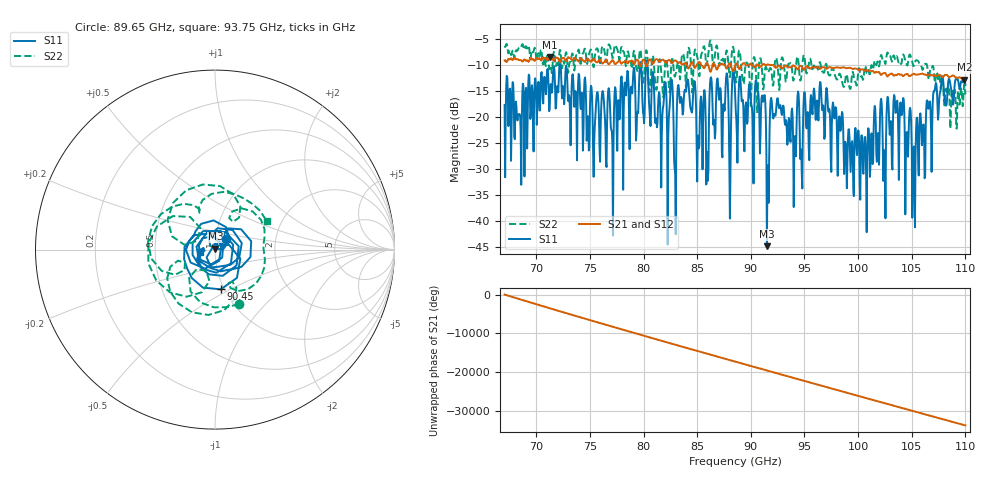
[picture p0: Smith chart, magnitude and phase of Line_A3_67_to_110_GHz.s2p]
#  HZ  S  MA  R  50.00
! Rohde & Schwarz ZVA67 4Ports - Version 4.11 - 1305.7002k04 SN: 101051
! Date: 2023-09-13 16:12:00
! Measurements: S11 S21 S12 S22
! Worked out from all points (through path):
!   860 points, 67.05 GHz to 110 GHz, reference 50 ohm
!   highest |S21| = -8.40 dB at 71.25 GHz (marker M1); lowest = -12.8 dB at 109.9 GHz (marker M2)
!   lowest |S11| = -44.8 dB at 91.5 GHz (marker M3), VSWR 1.01, Z = 50.2 + j0.537 ohm
!   |S11| at or under -10 dB: start of sweep to 72.16 GHz; 72.27 GHz to 79.67 GHz (7.395 GHz wide, 9.73 % of centre); 80.36 GHz to end of sweep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
!   |S22| runs from -22.2 to -5.2 dB; largest |S21 - S12| = 0.054
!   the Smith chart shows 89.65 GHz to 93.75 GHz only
!   S11 on the Smith chart (normalised r, x): 89.65 GHz: 1.12, +0.14; 90.45 GHz: 0.96, -0.45; 93.75 GHz: 0.84, -0.02
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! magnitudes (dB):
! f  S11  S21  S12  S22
! 67.05 GHz  -17.6  -9.1  -9.1  -6.3
! 71.25 GHz  -18.5  -8.4  -8.4  -10.8
! 74.25 GHz  -15.3  -8.9  -8.9  -8.3
! 81.4 GHz  -16.0  -9.2  -9.2  -9.8
! 82.95 GHz  -30.8  -9.1  -9.0  -12.0
! 84.05 GHz  -13.2  -10.1  -10.1  -9.9
! 85.95 GHz  -26.6  -9.7  -9.7  -9.3
! 86.3 GHz  -12.3  -11.1  -11.1  -5.7
! 88.55 GHz  -16.3  -10.0  -9.9  -11.6
! 89.65 GHz  -21.3  -10.0  -10.0  -9.6
! 90.45 GHz  -13.0  -10.3  -10.2  -10.5
! 91.2 GHz  -16.5  -9.8  -9.7  -14.3
! 91.5 GHz  -44.8  -9.9  -9.9  -10.9
! 92 GHz  -18.4  -10.0  -9.9  -12.7
! 93.75 GHz  -21.3  -10.4  -10.4  -9.7
! 95.7 GHz  -18.7  -10.4  -10.4  -10.7
! 100.7 GHz  -23.8  -11.1  -11.1  -10.1
! 102.8 GHz  -18.2  -11.9  -11.9  -8.2
! 105.2 GHz  -25.6  -11.7  -11.6  -10.1
! 107.2 GHz  -14.8  -12.0  -11.9  -13.4
! 109.9 GHz  -12.6  -12.8  -12.7  -13.7
! 110 GHz  -13.7  -12.7  -12.6  -15.6
